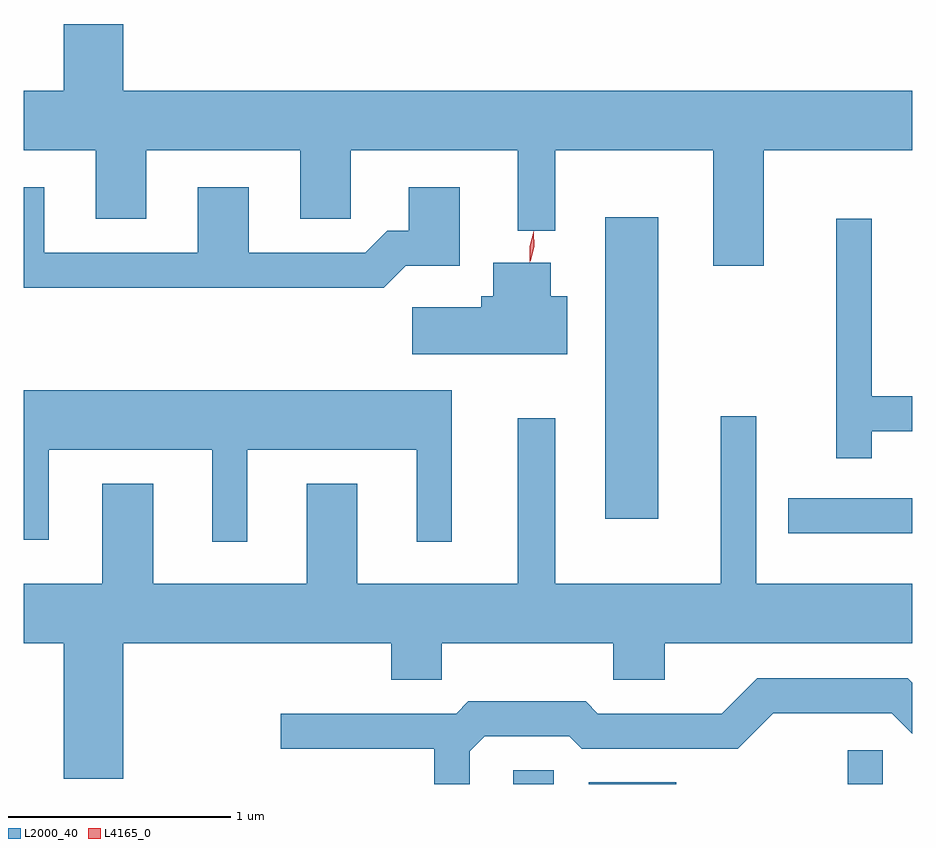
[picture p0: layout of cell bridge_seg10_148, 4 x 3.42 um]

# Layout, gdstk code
import gdstk
lib = gdstk.Library(unit=1e-6, precision=1e-09)
def R(c, l, rs):  # rectangles x0, y0, x1, y1
    for r in rs: c.add(gdstk.rectangle(r[:2], r[2:], *l))
def P(c, l, *ps):  # polygons
    for p in ps: c.add(gdstk.Polygon(p, *l))
L2000_40 = (2000, 40)
L4165_0 = (4165, 0)

bridge_seg10_148 = lib.new_cell('bridge_seg10_148')
R(bridge_seg10_148, L2000_40, [(1495.821,2131.042,1496.004,2131.104), (1496.161,2131.042,1496.554,2131.049), (1497.326,2131.042,1497.484,2131.193), (1497.058,2132.171,1497.617,2132.329), (1496.236,2132.236,1496.474,2133.594)])
P(bridge_seg10_148, L2000_40, [(1496.949,2133.896),(1497.617,2133.896),(1497.617,2134.164),(1494.064,2134.164),(1494.064,2134.464),(1493.796,2134.464),(1493.796,2134.164),(1493.617,2134.164),(1493.617,2133.896),(1493.941,2133.896),(1493.941,2133.586),(1494.169,2133.586),(1494.169,2133.896),(1494.861,2133.896),(1494.861,2133.586),(1495.089,2133.586),(1495.089,2133.896),(1495.841,2133.896),(1495.841,2133.533),(1496.009,2133.533),(1496.009,2133.896),(1496.721,2133.896),(1496.721,2133.376),(1496.949,2133.376)],
  [(1495.337,2133.376),(1495.579,2133.376),(1495.579,2133.729),(1495.351,2133.729),(1495.351,2133.534),(1495.254,2133.534),(1495.154,2133.434),(1494.629,2133.434),(1494.629,2133.729),(1494.401,2133.729),(1494.401,2133.434),(1493.709,2133.434),(1493.709,2133.729),(1493.617,2133.729),(1493.617,2133.276),(1495.237,2133.276)],
  [(1497.434,2132.631),(1497.617,2132.631),(1497.617,2132.789),(1497.434,2132.789),(1497.434,2133.588),(1497.276,2133.588),(1497.276,2132.508),(1497.434,2132.508)],
  [(1496.064,2133.239),(1495.989,2133.239),(1495.989,2133.389),(1495.731,2133.389),(1495.731,2133.239),(1495.676,2133.239),(1495.676,2133.189),(1495.366,2133.189),(1495.366,2132.976),(1496.064,2132.976)],
  [(1494.624,2132.546),(1495.386,2132.546),(1495.386,2132.133),(1495.544,2132.133),(1495.544,2132.814),(1493.617,2132.814),(1493.617,2132.141),(1493.729,2132.141),(1493.729,2132.546),(1494.466,2132.546),(1494.466,2132.133),(1494.624,2132.133)],
  [(1494.064,2131.676),(1495.271,2131.676),(1495.271,2131.511),(1495.499,2131.511),(1495.499,2131.676),(1496.271,2131.676),(1496.271,2131.511),(1496.504,2131.511),(1496.504,2131.676),(1497.617,2131.676),(1497.617,2131.944),(1496.914,2131.944),(1496.914,2132.698),(1496.756,2132.698),(1496.756,2131.944),(1496.009,2131.944),(1496.009,2132.688),(1495.841,2132.688),(1495.841,2131.944),(1495.119,2131.944),(1495.119,2132.394),(1494.891,2132.394),(1494.891,2131.944),(1494.199,2131.944),(1494.199,2132.394),(1493.971,2132.394),(1493.971,2131.944),(1493.617,2131.944),(1493.617,2131.676),(1493.796,2131.676),(1493.796,2131.066),(1494.064,2131.066)],
  [(1495.624,2131.189),(1495.692,2131.256),(1496.074,2131.256),(1496.129,2131.201),(1496.832,2131.201),(1496.992,2131.361),(1497.524,2131.361),(1497.617,2131.268),(1497.617,2131.499),(1497.597,2131.519),(1496.919,2131.519),(1496.759,2131.359),(1496.202,2131.359),(1496.147,2131.414),(1495.619,2131.414),(1495.564,2131.359),(1494.773,2131.359),(1494.773,2131.201),(1495.466,2131.201),(1495.466,2131.042),(1495.624,2131.042)])
P(bridge_seg10_148, L4165_0, [(1495.895,2133.392),(1495.894,2133.393),(1495.894,2133.463),(1495.912,2133.53),(1495.913,2133.531),(1495.913,2133.53),(1495.914,2133.46),(1495.895,2133.393)],
  [(1495.9,2133.396),(1495.899,2133.397),(1495.896,2133.463),(1495.912,2133.527),(1495.913,2133.528),(1495.913,2133.527),(1495.916,2133.461),(1495.9,2133.397)])

lib.write_gds('bridge_seg10_148.gds')
